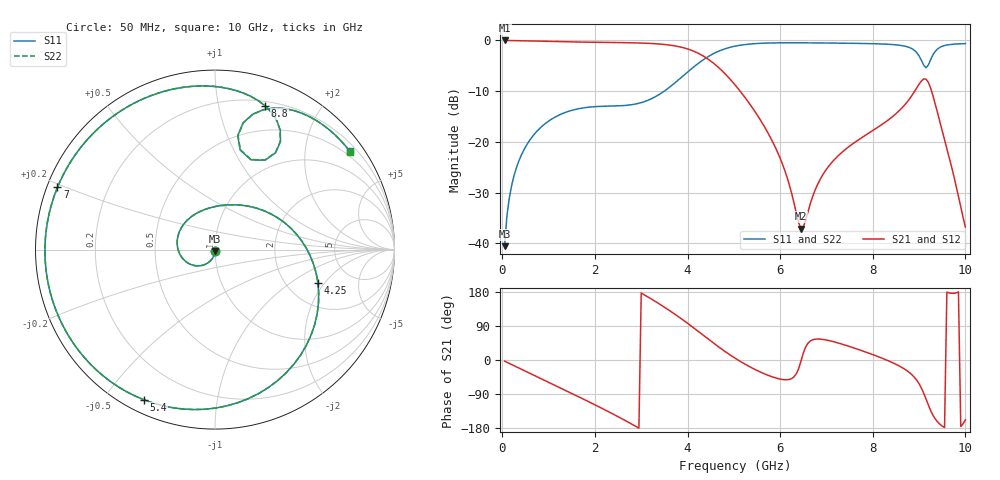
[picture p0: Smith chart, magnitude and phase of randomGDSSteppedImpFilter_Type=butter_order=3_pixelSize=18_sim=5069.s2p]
! freq	dB(S11)	phase(S11)	dB(S12)	phase(S12)
!  dB(S21)	phase(S21)	dB(S22)	phase(S22)
!S-par simulation data
#  GHz  S  DB  R 50
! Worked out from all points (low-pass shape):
!   200 points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, 50 MHz to 10 GHz, reference 50 ohm
!   highest |S21| = -0.01 dB at 50 MHz (marker M1); lowest = -37.1 dB at 6.45 GHz (marker M2)
!   |S21| within 3 dB of the highest: start of sweep to 4.327 GHz
!   lowest |S11| = -40.6 dB at 50 MHz (marker M3), VSWR 1.02, Z = 50 - j0.937 ohm
!   |S11| at or under -10 dB: start of sweep to 3.496 GHz
!   |S22| runs from -40.5 to -0.5 dB; largest |S21 - S12| = 0
!   S11 on the Smith chart (normalised r, x): 50 MHz: 1.00, -0.02; 4.25 GHz: 2.94, -1.72; 5.4 GHz: 0.05, -0.63; 7 GHz: 0.03, +0.19; 8.8 GHz: 0.24, +1.38; 10 GHz: 0.38, +3.03
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0.05  -40.55 -92.2  -0.01 -3.0  -0.01 -3.0  -40.55 -92.2
0.2  -28.67 -101.7  -0.03 -11.9  -0.03 -11.9  -28.67 -101.7
0.5  -21.01 -120.0  -0.08 -29.5  -0.08 -29.5  -21.01 -120.0
1.15  -15.06 -158.4  -0.22 -67.6  -0.22 -67.6  -15.05 -158.4
1.75  -13.29 166.0  -0.33 -103.1  -0.33 -103.1  -13.29 166.1
2.7  -12.78 106.3  -0.45 -162.7  -0.45 -162.7  -12.78 106.5
3.4  -10.59 55.9  -0.71 147.3  -0.71 147.3  -10.59 56.1
3.85  -7.42 18.7  -1.30 110.3  -1.30 110.3  -7.42 18.8
4.25  -4.40 -18.0  -2.61 73.8  -2.61 73.8  -4.40 -17.9
4.6  -2.42 -50.9  -4.78 41.1  -4.78 41.1  -2.42 -50.9
5.05  -1.08 -89.7  -9.03 3.0  -9.03 3.0  -1.08 -89.7
5.4  -0.67 -115.3  -13.27 -21.4  -13.27 -21.4  -0.67 -115.3
6  -0.47 -151.8  -23.22 -50.4  -23.22 -50.4  -0.47 -151.8
6.45  -0.46 -175.2  -37.08 -2.7  -37.08 -2.7  -0.46 -175.2
6.7  -0.48 172.6  -30.82 53.2  -30.82 53.2  -0.48 172.6
7  -0.50 158.4  -25.38 52.7  -25.38 52.7  -0.50 158.4
8.35  -0.76 95.5  -15.57 -2.9  -15.57 -2.9  -0.76 95.5
8.8  -1.43 70.8  -11.44 -34.0  -11.44 -34.0  -1.43 70.9
9  -3.05 58.8  -8.62 -62.7  -8.62 -62.7  -3.04 58.9
9.2  -4.85 75.8  -8.26 -119.1  -8.26 -119.1  -4.82 75.7
9.45  -1.36 67.3  -16.05 -169.6  -16.05 -169.6  -1.36 67.2
10  -0.63 36.1  -36.78 -157.9  -36.78 -157.9  -0.63 36.0
